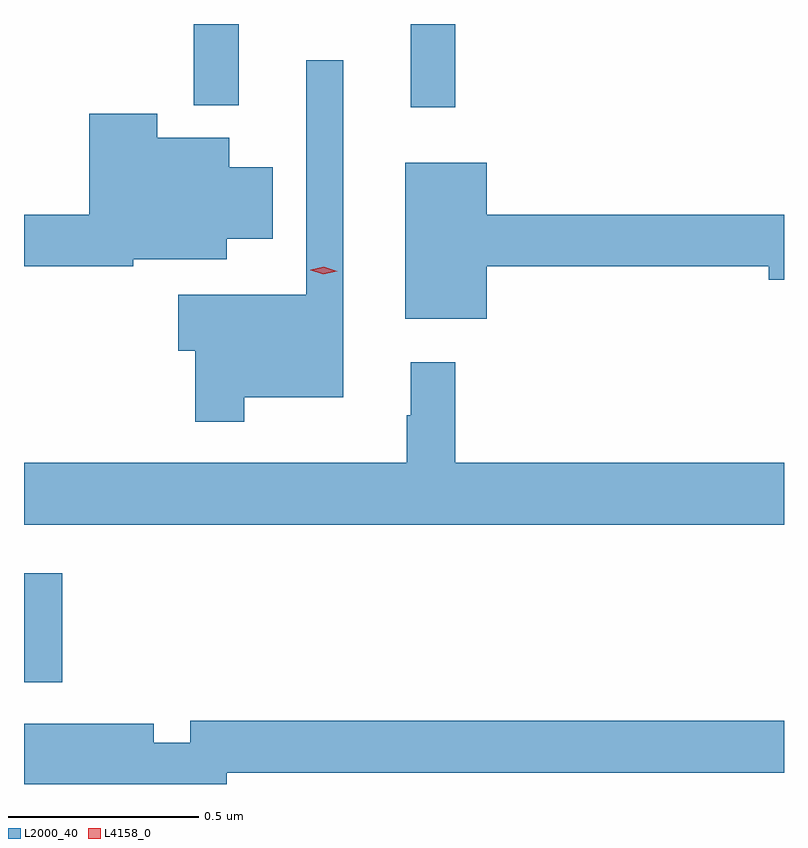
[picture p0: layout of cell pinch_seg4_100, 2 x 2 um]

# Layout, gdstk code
import gdstk
lib = gdstk.Library(unit=1e-6, precision=1e-09)
def R(c, l, rs):  # rectangles x0, y0, x1, y1
    for r in rs: c.add(gdstk.rectangle(r[:2], r[2:], *l))
def P(c, l, *ps):  # polygons
    for p in ps: c.add(gdstk.Polygon(p, *l))
L2000_40 = (2000, 40)
L4158_0 = (4158, 0)

pinch_seg4_100 = lib.new_cell('pinch_seg4_100')
R(pinch_seg4_100, L2000_40, [(1026.076,807.062,1026.176,807.349), (1027.094,808.575,1027.211,808.794), (1026.523,808.58,1026.641,808.794)])
P(pinch_seg4_100, L2000_40, [(1026.655,807.812),(1026.916,807.812),(1026.916,808.699),(1026.819,808.699),(1026.819,808.081),(1026.482,808.081),(1026.482,807.934),(1026.526,807.934),(1026.526,807.747),(1026.655,807.747)],
  [(1026.364,808.175),(1026.61,808.175),(1026.61,808.229),(1026.73,808.229),(1026.73,808.417),(1026.616,808.417),(1026.616,808.495),(1026.426,808.495),(1026.426,808.558),(1026.248,808.558),(1026.248,808.292),(1026.076,808.292),(1026.076,808.156),(1026.364,808.156)],
  [(1027.294,808.156),(1028.036,808.156),(1028.036,808.121),(1028.076,808.121),(1028.076,808.292),(1027.294,808.292),(1027.294,808.429),(1027.079,808.429),(1027.079,808.019),(1027.294,808.019)],
  [(1028.076,807.64),(1027.211,807.64),(1027.211,807.904),(1027.094,807.904),(1027.094,807.764),(1027.083,807.764),(1027.083,807.64),(1026.076,807.64),(1026.076,807.476),(1028.076,807.476)],
  [(1026.609,806.824),(1028.076,806.824),(1028.076,806.96),(1026.513,806.96),(1026.513,806.903),(1026.418,806.903),(1026.418,806.953),(1026.076,806.953),(1026.076,806.794),(1026.609,806.794)])
P(pinch_seg4_100, L4158_0, [(1026.864,808.135),(1026.83,808.146),(1026.829,808.146),(1026.83,808.147),(1026.865,808.155),(1026.9,808.144),(1026.9,808.144),(1026.9,808.144)])

lib.write_gds('pinch_seg4_100.gds')
